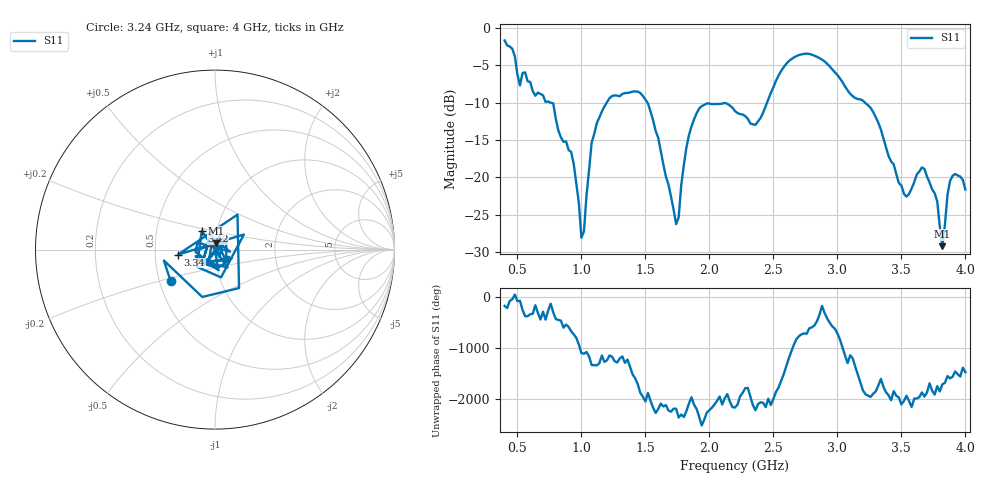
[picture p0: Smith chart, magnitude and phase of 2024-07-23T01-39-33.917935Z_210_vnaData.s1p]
!Created with skrf (http://scikit-rf.org).
# Hz S RI R 50.0
!freq ReS11 ImS11
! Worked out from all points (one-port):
!   181 points, 400 MHz to 4 GHz, reference 50 ohm
!   lowest |S11| = -29.2 dB at 3.82 GHz (marker M1), VSWR 1.07, Z = 50.5 + j3.45 ohm
!   |S11| at or under -10 dB: 758.3 MHz to 1.198 GHz (439.6 MHz wide, 44.9 % of centre); 1.516 GHz to 2.45 GHz (934.1 MHz wide, 47.1 % of centre); 3.216 GHz to end of sweep
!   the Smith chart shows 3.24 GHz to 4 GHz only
!   S11 on the Smith chart (normalised r, x): 3.24 GHz: 0.57, -0.22; 3.34 GHz: 0.66, -0.04; 3.42 GHz: 0.84, +0.18; 4 GHz: 1.13, -0.12
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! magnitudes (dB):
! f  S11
! 400 MHz  -1.7
! 520 MHz  -7.7
! 780 MHz  -10.1
! 860 MHz  -15.2
! 940 MHz  -18.2
! 1 GHz  -28.1
! 1.02 GHz  -27.2
! 1.08 GHz  -15.3
! 1.12 GHz  -12.8
! 1.3 GHz  -9.1
! 1.52 GHz  -10.1
! 1.74 GHz  -26.3
! 1.76 GHz  -25.3
! 1.82 GHz  -16.0
! 1.92 GHz  -10.8
! 2.2 GHz  -11.1
! 2.36 GHz  -13.0
! 2.66 GHz  -4.0
! 3.1 GHz  -8.8
! 3.24 GHz  -10.4
! 3.34 GHz  -13.6
! 3.42 GHz  -17.9
! 3.56 GHz  -22.2
! 3.68 GHz  -18.9
! 3.78 GHz  -23.2
! 3.82 GHz  -29.2
! 3.88 GHz  -20.5
! 4 GHz  -21.6
